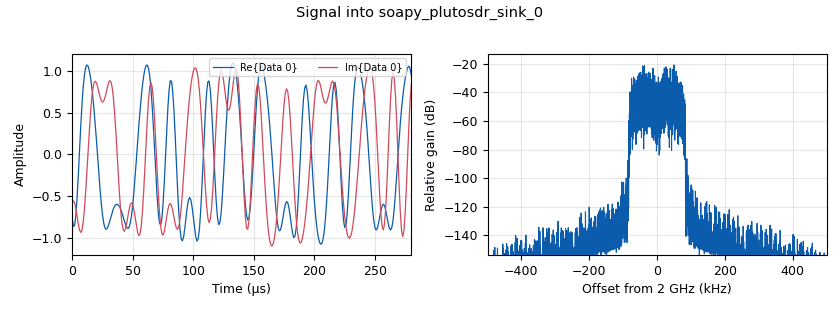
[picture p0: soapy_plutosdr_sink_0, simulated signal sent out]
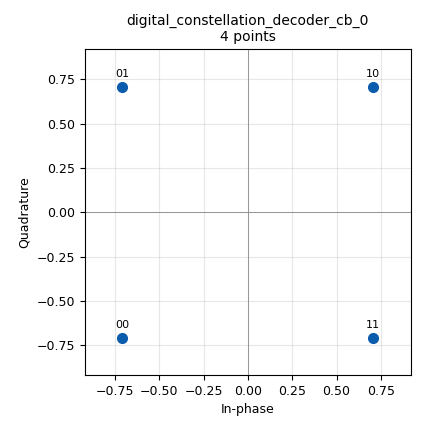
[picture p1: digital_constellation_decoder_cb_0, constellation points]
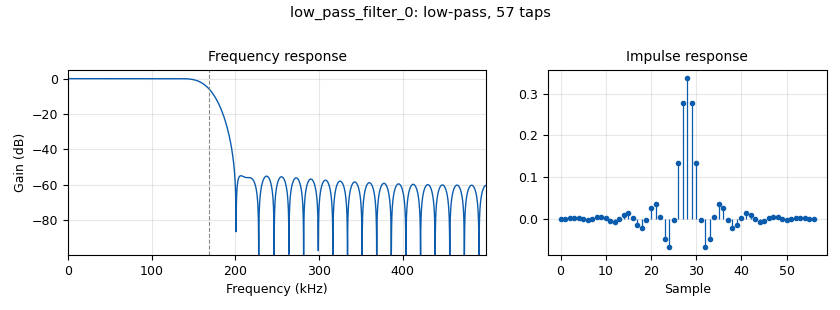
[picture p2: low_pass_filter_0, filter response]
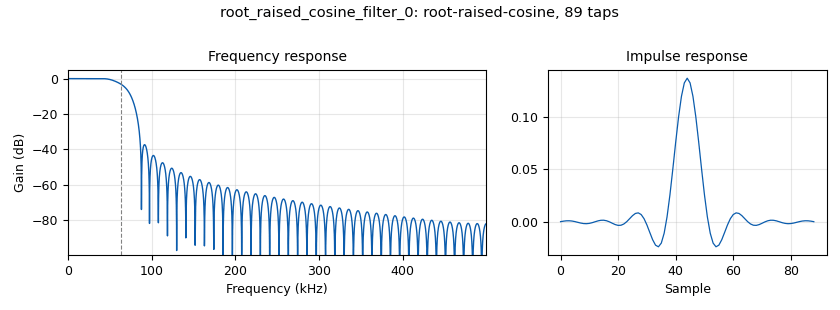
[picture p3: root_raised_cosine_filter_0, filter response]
options:
  parameters:
    author: tom
    generate_options: qt_gui
    id: backup
    output_language: python
    title: Not titled yet
  states: {}

blocks:
- name: QPSK_constellation
  id: variable_constellation
  parameters:
    const_points: '[-1-1j, -1+1j, 1+1j, 1-1j]'
    dims: '1'
    normalization: digital.constellation.AMPLITUDE_NORMALIZATION
    precision: '8'
    rot_sym: '4'
    sym_map: '[0, 1, 3, 2]'
    type: calcdist
  states: {}
- name: QPSK_constellation
  id: variable_constellation
  parameters:
    precision: '8'
    type: qpsk
  states: {state: disabled}
- name: alpha
  id: variable
  parameters:
    value: '0.35'
  states: {}
- name: center_freq
  id: variable
  parameters:
    value: 2e9
  states: {}
- name: fc
  id: variable
  parameters:
    value: '200000'
  states: {state: disabled}
- name: loop_bw_FLL
  id: variable_qtgui_range
  parameters:
    start: '0.0001'
    step: '0.0001'
    stop: '0.001'
    value: '0.0005'
  states: {}
- name: msg
  id: variable
  parameters:
    value: '"0001000101011100101001111010011110101011010110001111010101001111011101110110101"'
  states: {}
- name: noise_frequency_offset
  id: variable_qtgui_range
  parameters:
    start: '0'
    step: '0.01'
    stop: '0.25'
    value: 500/samp_rate
  states: {}
- name: noise_timing_offset
  id: variable_qtgui_range
  parameters:
    start: '1'
    step: '0.0001'
    stop: '1.1'
    value: '1'
  states: {}
- name: noise_voltage
  id: variable_qtgui_range
  parameters:
    start: '0'
    step: '0.1'
    stop: '5'
    value: '0'
  states: {}
- name: samp_rate
  id: variable
  parameters:
    comment: |-
      was 800k
      not the problem though. depends on the required symbol rate
    value: 1e6
  states: {}
- name: sps
  id: variable
  parameters:
    value: '8'
  states: {}
- name: analog_agc3_xx_0
  id: analog_agc3_xx
  parameters:
    attack_rate: '1e-3'
    comment: Up the attack and decay rates when we do real life testing
    decay_rate: '1e-4'
    gain: '1.0'
    iir_update_decim: '1'
    max_gain: '65536'
    reference: '1.0'
    type: complex
  states: {}
- name: analog_pll_carriertracking_cc_0
  id: analog_pll_carriertracking_cc
  parameters: {}
  states: {state: disabled}
- name: analog_pll_freqdet_cf_0
  id: analog_pll_freqdet_cf
  parameters: {}
  states: {state: disabled}
- name: analog_random_uniform_source_x_0
  id: analog_random_uniform_source_x
  parameters:
    comment: |-
      instead of this, have a set pilor signal?
      Also: Pluto -> bladeRF and bladeRF->Pluto
    maximum: '256'
    minimum: '0'
    seed: '0'
    type: byte
  states: {state: disabled}
- name: ber_async_ber_calculator_0
  id: ber_async_ber_calculator
  parameters:
    sequence: msg
  states: {}
- name: blocks_pack_k_bits_bb_0
  id: blocks_pack_k_bits_bb
  parameters:
    k: '8'
  states: {state: disabled}
- name: blocks_pack_k_bits_bb_1
  id: blocks_pack_k_bits_bb
  parameters:
    k: '8'
  states: {}
- name: blocks_skiphead_0
  id: blocks_skiphead
  parameters:
    comment: skips 1 second of data
    num_items: int(samp_rate)
    type: byte
  states: {}
- name: blocks_throttle2_0_0_0_0
  id: blocks_throttle2
  parameters:
    samples_per_second: samp_rate
    type: byte
  states: {state: bypassed}
- name: blocks_unpack_k_bits_bb_0
  id: blocks_unpack_k_bits_bb
  parameters:
    k: '2'
  states: {}
- name: blocks_vector_source_x_0
  id: blocks_vector_source_x
  parameters:
    repeat: 'True'
    type: byte
    vector: (0, 0, 0, 1, 1, 1, 0, 1, 0, 0, 0, 1, 1, 1, 0, 0, 0, 1, 1, 1, 1, 0)
  states: {state: disabled}
- name: blocks_vector_source_x_1
  id: blocks_vector_source_x
  parameters:
    repeat: 'True'
    type: byte
    vector: '[ int(i) for i in msg ]'
  states: {}
- name: channels_channel_model_0
  id: channels_channel_model
  parameters:
    epsilon: noise_timing_offset
    freq_offset: noise_frequency_offset
    noise_voltage: noise_voltage
    seed: '0'
    taps: '1.0'
  states: {state: bypassed}
- name: digital_constellation_decoder_cb_0
  id: digital_constellation_decoder_cb
  parameters:
    constellation: QPSK_constellation
  states: {}
- name: digital_constellation_modulator_0
  id: digital_constellation_modulator
  parameters:
    constellation: QPSK_constellation
    differential: 'True'
    excess_bw: alpha
    samples_per_symbol: sps
  states: {}
- name: digital_constellation_receiver_cb_0
  id: digital_constellation_receiver_cb
  parameters:
    constellation: QPSK_constellation
  states: {state: disabled}
- name: digital_costas_loop_cc_0
  id: digital_costas_loop_cc
  parameters:
    order: '4'
    w: 2*math.pi/100
  states: {}
- name: digital_diff_decoder_bb_0
  id: digital_diff_decoder_bb
  parameters:
    coding: digital.DIFF_DIFFERENTIAL
    modulus: '4'
  states: {}
- name: digital_fll_band_edge_cc_0
  id: digital_fll_band_edge_cc
  parameters:
    comment: |-
      loop_bw = 0.005 – 0.020
      Jason says ~0.003
    filter_size: '65'
    rolloff: alpha
    samps_per_sym: sps
    type: cc
    w: '0.0005'
  states: {}
- name: digital_fll_band_edge_cc_0_0
  id: digital_fll_band_edge_cc
  parameters:
    comment: |-
      loop_bw = 0.005 – 0.020
      Jason says ~0.003
    filter_size: '65'
    rolloff: alpha
    samps_per_sym: sps
    type: cc
    w: loop_bw_FLL
  states: {state: disabled}
- name: digital_map_bb_0
  id: digital_map_bb
  parameters:
    map: '[0, 1, 3, 2]'
  states: {}
- name: digital_symbol_sync_xx_0
  id: digital_symbol_sync_xx
  parameters:
    constellation: digital.constellation_qpsk().base()
    damping: '1.0'
    loop_bw: '0.045'
    max_dev: '1.5'
    nfilters: '32'
    osps: '1'
    resamp_type: digital.IR_MMSE_8TAP
    sps: sps
    ted_gain: '1'
    ted_type: digital.TED_SIGNAL_TIMES_SLOPE_ML
    type: cc
  states: {}
- name: epy_block_0
  id: epy_block
  parameters:
    _source_code: |
      import numpy as np
      from gnuradio import gr

      PILOT_LEN = 256

      def pack_bits_with_offset(bits, bit_offset, bitorder):
          trimmed = bits[bit_offset:]
          n_bytes = len(trimmed) // 8
          if n_bytes == 0:
              return np.array([], dtype=np.uint8)
          usable = trimmed[:n_bytes * 8]
          return np.packbits(usable, bitorder=bitorder)

      def is_increasing_mod256(packed, min_run=16):
          """
          Check if packed bytes look like the repeating 0..255 ramp.
          Returns fraction of consecutive pairs that are +1 mod 256.
          """
          if len(packed) < 2:
              return 0.0
          expected_next = ((packed[:-1].astype(np.uint16) + 1) % 256).astype(np.uint8)
          good = np.sum(packed[1:] == expected_next)
          return good / (len(packed) - 1)

      def find_best_alignment(bits, min_run=16):
          """
          Try all 8 bit offsets x 2 bit orders = 16 combinations.
          Returns (best_bit_offset, best_bitorder, best_byte_phase) or None.
          """
          best = None
          best_score = 0.0

          for bitorder in ['big', 'little']:
              for bit_offset in range(8):
                  packed = pack_bits_with_offset(bits, bit_offset, bitorder)
                  if len(packed) < min_run:
                      continue
                  score = is_increasing_mod256(packed)
                  if score > best_score:
                      # find byte phase: which value does the sequence start at?
                      best_score = score
                      # estimate byte phase from first byte
                      byte_phase = int(packed[0])
                      best = (bit_offset, bitorder, byte_phase, score)

          return best  # None if nothing found


      class blk(gr.sync_block):
          def __init__(self, buffer_size=20000, realign_interval=50000, periodic_realign=True, score_threshold=0.8, stats_reset_interval=1000):
              gr.sync_block.__init__(
                  self,
                  name='BER Calculator',
                  in_sig=[np.uint8],       # unpacked bit stream (0s and 1s)
                  out_sig=[np.float32, np.float32]  # [BER, byte error rate]
              )
              self.buffer_size = buffer_size
              self.realign_interval = realign_interval
              self.periodic_realign = periodic_realign
              self.score_threshold = score_threshold

              self.bit_buffer = np.array([], dtype=np.uint8)

              self.synced = False
              self.bit_offset = 0
              self.bitorder = 'big'
              self.byte_phase = 0         # which value in 0..255 we expect next

              self.total_bits = 0
              self.total_bit_errors = 0
              self.total_bytes = 0
              self.total_byte_errors = 0

              self.print_counter = 0
              self.realign_counter = 0
              self.last_ber = 0.0
              self.last_byter = 0.0

              self.stats_reset_interval = stats_reset_interval

          def try_align(self):
              result = find_best_alignment(self.bit_buffer)
              if result is None:
                  print("[BER] Could not find alignment.")
                  return False
              bit_offset, bitorder, byte_phase, score = result
              if score < self.score_threshold:
                  print(f"[BER] Best alignment score {score:.3f} below threshold {self.score_threshold}. Not locking.")
                  return False
              self.bit_offset = bit_offset
              self.bitorder = bitorder
              self.byte_phase = byte_phase
              # consume the bits used for alignment
              self.bit_buffer = self.bit_buffer[bit_offset:]
              print(f"[BER] Locked. bit_offset={bit_offset} bitorder={bitorder} byte_phase={byte_phase} score={score:.4f}")
              return True

          def work(self, input_items, output_items):
              bits_in = input_items[0]
              n = len(bits_in)

              self.bit_buffer = np.append(self.bit_buffer, bits_in)

              if not self.synced:
                  if len(self.bit_buffer) >= self.buffer_size:
                      self.synced = self.try_align()
                      if not self.synced:
                          # discard half the buffer and try again next time
                          self.bit_buffer = self.bit_buffer[self.buffer_size // 2:]

              else:
                  # pack available bits into bytes using locked alignment
                  n_bytes = len(self.bit_buffer) // 8
                  if n_bytes > 0:
                      usable = self.bit_buffer[:n_bytes * 8]
                      packed = np.packbits(usable, bitorder=self.bitorder)
                      self.bit_buffer = self.bit_buffer[n_bytes * 8:]

                      # build expected ramp
                      expected = ((self.byte_phase + np.arange(n_bytes)) % PILOT_LEN).astype(np.uint8)
                      self.byte_phase = int((self.byte_phase + n_bytes) % PILOT_LEN)

                      # byte errors
                      byte_errors = int(np.sum(packed != expected))
                      self.total_bytes += n_bytes
                      self.total_byte_errors += byte_errors

                      # bit errors
                      xor = np.bitwise_xor(packed, expected)
                      bit_errors = int(np.sum(np.unpackbits(xor)))
                      self.total_bits += n_bytes * 8
                      self.total_bit_errors += bit_errors

                      self.realign_counter += n_bytes
                      self.print_counter += n_bytes

                      if self.print_counter >= self.stats_reset_interval:
                          self.last_ber = self.total_bit_errors / self.total_bits if self.total_bits else 0.0
                          self.last_byter = self.total_byte_errors / self.total_bytes if self.total_bytes else 0.0
                          print(f"[BER] BER={self.last_ber:.6f}  ByteER={self.last_byter:.6f}  bits={self.total_bits}  bytes={self.total_bytes}")
                          self.print_counter = 0
                          self.total_bits = 0
                          self.total_bit_errors = 0
                          self.total_bytes = 0
                          self.total_byte_errors = 0

                      if self.periodic_realign and self.realign_counter >= self.realign_interval:
                          self.realign_counter = 0
                          self.synced = False
                          self.bit_buffer = np.array([], dtype=np.uint8)
                          print("[BER] Re-aligning...")

              output_items[0][:n] = self.last_ber
              output_items[1][:n] = self.last_byter
              return n
    buffer_size: '20000'
    periodic_realign: 'True'
    realign_interval: '50000'
    score_threshold: '0.8'
    stats_reset_interval: '1000'
  states: {state: disabled}
- name: epy_block_1
  id: epy_block
  parameters:
    _source_code: |
      import numpy as np
      from gnuradio import gr


      class blk(gr.sync_block):
          """
          Repeating byte source:
            0, 1, 2, ..., 255, 0, 1, ...
          """

          def __init__(self):
              gr.sync_block.__init__(
                  self,
                  name="Repeating 0-255 Byte Source",
                  in_sig=None,
                  out_sig=[np.uint8],
              )

              self.index = 0

          def work(self, input_items, output_items):
              out = output_items[0]
              n = len(out)

              out[:] = (self.index + np.arange(n)) % 256
              self.index = (self.index + n) % 256

              return n
  states: {state: disabled}
- name: epy_block_3
  id: epy_block
  parameters:
    _source_code: |
      import numpy as np
      from gnuradio import gr
      import csv
      import os
      import time
      from datetime import datetime

      CSV_FILE = "V3_noise_vs_ber.csv"
      LOG_INTERVAL = 0.8  # seconds between each periodic snapshot

      class blk(gr.sync_block):
          """
          Records BER vs noise parameters to a CSV file periodically.
          Every LOG_INTERVAL seconds, snapshots the current parameters and BER.

          Inputs:
              in0: float32 BER estimate (from BER Calculator block)

          Parameters:
              noise_voltage:       TX noise voltage
              noise_freq_offset:   frequency offset applied to noise
              noise_timing_offset: timing offset applied to noise
          """

          def __init__(self, noise_voltage=0.0, noise_freq_offset=0.0, noise_timing_offset=0.0):
              gr.sync_block.__init__(
                  self,
                  name="BER vs Noise Logger",
                  in_sig=[np.float32],
                  out_sig=None,
              )

              self.noise_voltage       = noise_voltage
              self.noise_freq_offset   = noise_freq_offset
              self.noise_timing_offset = noise_timing_offset

              self.last_log_time = time.time()

              self._init_csv()

          def _init_csv(self):
              file_exists = os.path.isfile(CSV_FILE)
              with open(CSV_FILE, "a", newline="") as f:
                  writer = csv.writer(f)
                  if not file_exists:
                      writer.writerow([
                          "timestamp",
                          "noise_voltage",
                          "noise_freq_offset",
                          "noise_timing_offset",
                          "ber",
                      ])

          def _record(self, ber):
              timestamp = datetime.now().strftime("%Y-%m-%d %H:%M:%S.%f")[:-3]
              with open(CSV_FILE, "a", newline="") as f:
                  writer = csv.writer(f)
                  writer.writerow([
                      timestamp,
                      self.noise_voltage,
                      self.noise_freq_offset,
                      self.noise_timing_offset,
                      f"{ber:.8f}",
                  ])
              print(f"[BER Logger] Recorded: voltage={self.noise_voltage} "
                    f"freq_offset={self.noise_freq_offset} "
                    f"timing_offset={self.noise_timing_offset} "
                    f"BER={ber:.8f}")

          def work(self, input_items, output_items):
              ber_in = input_items[0]
              n = len(ber_in)

              now = time.time()
              if now - self.last_log_time >= LOG_INTERVAL:
                  current_ber = float(np.mean(ber_in))
                  self._record(current_ber)
                  self.last_log_time = now

              return n
    noise_freq_offset: noise_frequency_offset
    noise_timing_offset: noise_timing_offset
    noise_voltage: noise_voltage
  states: {state: disabled}
- name: import_0
  id: import
  parameters:
    imports: import math
  states: {}
- name: import_0_0
  id: import
  parameters:
    imports: import numpy
  states: {}
- name: low_pass_filter_0
  id: low_pass_filter
  parameters:
    comment: |-
      sps = 1 samp_rate = bandwidth
      samp_rate / sps ~= bandwidth

      Bandwith has to do with "squareness" of wave and samp_rate/sps

      shaping is controlled by alpha

      min(BW) = sps

      BW = symbol_rate*(1+alpha)
    cutoff_freq: samp_rate/sps/2*(1+alpha)*2.0
    decim: '1'
    gain: '1'
    samp_rate: samp_rate
    type: fir_filter_ccf
    width: samp_rate/sps/2*(1+alpha)*0.5
    win: window.WIN_HAMMING
  states: {}
- name: qtgui_const_sink_x_0
  id: qtgui_const_sink_x
  parameters:
    label1: Post FLL
    label2: Post Costas
    nconnections: '2'
    size: '1024'
    type: complex
    update_time: '1.0'
    xmax: '3'
    xmin: '-3'
    ymax: '3'
    ymin: '-3'
  states: {}
- name: qtgui_const_sink_x_1
  id: qtgui_const_sink_x
  parameters:
    color1: '"red"'
    size: '1024'
    type: complex
  states: {state: disabled}
- name: qtgui_const_sink_x_2
  id: qtgui_const_sink_x
  parameters:
    label1: '"pre"'
    label2: '"post"'
    nconnections: '2'
    size: '1024'
    type: complex
  states: {state: disabled}
- name: qtgui_const_sink_x_3
  id: qtgui_const_sink_x
  parameters:
    size: '1024'
    type: complex
  states: {state: disabled}
- name: qtgui_freq_sink_x_0
  id: qtgui_freq_sink_x
  parameters:
    autoscale: 'True'
    bw: samp_rate*2
    fc: '0'
    fftsize: '1024'
    name: '"output"'
    type: complex
  states: {state: disabled}
- name: qtgui_freq_sink_x_1
  id: qtgui_freq_sink_x
  parameters:
    bw: samp_rate
    fc: '0'
    fftsize: '1024'
    type: complex
  states: {state: disabled}
- name: qtgui_number_sink_0
  id: qtgui_number_sink
  parameters:
    graph_type: qtgui.NUM_GRAPH_HORIZ
    max: '0.5'
    min: '0'
    name: '"bit ER"'
    type: float
  states: {state: disabled}
- name: qtgui_number_sink_0_0
  id: qtgui_number_sink
  parameters:
    graph_type: qtgui.NUM_GRAPH_HORIZ
    max: '0.5'
    min: '0'
    name: '"byte ER"'
    type: float
  states: {state: disabled}
- name: qtgui_number_sink_1
  id: qtgui_number_sink
  parameters:
    graph_type: qtgui.NUM_GRAPH_HORIZ
    type: float
  states: {state: disabled}
- name: qtgui_time_sink_x_0
  id: qtgui_time_sink_x
  parameters:
    autoscale: 'True'
    size: '1024'
    srate: samp_rate
    type: float
    ymax: '0.01'
    ymin: '-0.01'
  states: {state: disabled}
- name: qtgui_time_sink_x_1
  id: qtgui_time_sink_x
  parameters:
    nconnections: '2'
    size: '1024'
    srate: samp_rate
    type: float
  states: {}
- name: root_raised_cosine_filter_0
  id: root_raised_cosine_filter
  parameters:
    alpha: alpha
    comment: '?'
    decim: '1'
    gain: '1'
    ntaps: int(11*sps)
    samp_rate: samp_rate
    sym_rate: samp_rate / sps
    type: fir_filter_ccf
  states: {}
- name: soapy_bladerf_sink_0
  id: soapy_bladerf_sink
  parameters:
    center_freq: center_freq
    gain: '17'
    samp_rate: samp_rate
    type: fc32
  states: {state: disabled}
- name: soapy_bladerf_source_0
  id: soapy_bladerf_source
  parameters:
    center_freq: center_freq
    gain: '20'
    samp_rate: samp_rate
    type: fc32
  states: {}
- name: soapy_plutosdr_sink_0
  id: soapy_plutosdr_sink
  parameters:
    center_freq: center_freq
    gain: '40'
    samp_rate: samp_rate
    type: fc32
  states: {}
- name: soapy_plutosdr_source_0_0
  id: soapy_plutosdr_source
  parameters:
    agc: 'True'
    center_freq: center_freq
    gain: '60'
    samp_rate: samp_rate
    type: fc32
  states: {state: disabled}
- name: virtual_sink_0
  id: virtual_sink
  parameters:
    stream_id: rx_signal_filtered
  states: {}
- name: virtual_sink_1
  id: virtual_sink
  parameters:
    stream_id: decoded_signal
  states: {}
- name: virtual_sink_2
  id: virtual_sink
  parameters:
    stream_id: test
  states: {state: disabled}
- name: virtual_source_0
  id: virtual_source
  parameters:
    stream_id: rx_signal_filtered
  states: {}
- name: virtual_source_1
  id: virtual_source
  parameters:
    stream_id: decoded_signal
  states: {}
- name: virtual_source_3
  id: virtual_source
  parameters:
    stream_id: test
  states: {state: disabled}

connections:
- [analog_agc3_xx_0, '0', low_pass_filter_0, '0']
- [analog_random_uniform_source_x_0, '0', blocks_throttle2_0_0_0_0, '0']
- [ber_async_ber_calculator_0, '0', qtgui_time_sink_x_1, '0']
- [ber_async_ber_calculator_0, '1', qtgui_time_sink_x_1, '1']
- [blocks_pack_k_bits_bb_0, '0', blocks_throttle2_0_0_0_0, '0']
- [blocks_pack_k_bits_bb_1, '0', blocks_throttle2_0_0_0_0, '0']
- [blocks_skiphead_0, '0', ber_async_ber_calculator_0, '0']
- [blocks_skiphead_0, '0', epy_block_0, '0']
- [blocks_throttle2_0_0_0_0, '0', digital_constellation_modulator_0, '0']
- [blocks_unpack_k_bits_bb_0, '0', blocks_skiphead_0, '0']
- [blocks_vector_source_x_0, '0', blocks_pack_k_bits_bb_0, '0']
- [blocks_vector_source_x_1, '0', blocks_pack_k_bits_bb_1, '0']
- [channels_channel_model_0, '0', analog_agc3_xx_0, '0']
- [channels_channel_model_0, '0', digital_fll_band_edge_cc_0_0, '0']
- [channels_channel_model_0, '0', qtgui_const_sink_x_2, '0']
- [digital_constellation_decoder_cb_0, '0', virtual_sink_1, '0']
- [digital_constellation_modulator_0, '0', soapy_bladerf_sink_0, '0']
- [digital_constellation_modulator_0, '0', soapy_plutosdr_sink_0, '0']
- [digital_constellation_modulator_0, '0', virtual_sink_2, '0']
- [digital_costas_loop_cc_0, '0', digital_constellation_decoder_cb_0, '0']
- [digital_costas_loop_cc_0, '0', qtgui_const_sink_x_0, '1']
- [digital_costas_loop_cc_0, '0', qtgui_const_sink_x_1, '0']
- [digital_costas_loop_cc_0, '0', qtgui_freq_sink_x_0, '0']
- [digital_diff_decoder_bb_0, '0', digital_map_bb_0, '0']
- [digital_fll_band_edge_cc_0, '0', digital_symbol_sync_xx_0, '0']
- [digital_fll_band_edge_cc_0, '1', qtgui_number_sink_1, '0']
- [digital_fll_band_edge_cc_0, '1', qtgui_time_sink_x_0, '0']
- [digital_fll_band_edge_cc_0_0, '0', qtgui_const_sink_x_2, '1']
- [digital_map_bb_0, '0', blocks_unpack_k_bits_bb_0, '0']
- [digital_symbol_sync_xx_0, '0', digital_costas_loop_cc_0, '0']
- [digital_symbol_sync_xx_0, '0', qtgui_const_sink_x_0, '0']
- [epy_block_0, '0', epy_block_3, '0']
- [epy_block_0, '0', qtgui_number_sink_0, '0']
- [epy_block_0, '1', qtgui_number_sink_0_0, '0']
- [epy_block_1, '0', blocks_throttle2_0_0_0_0, '0']
- [low_pass_filter_0, '0', root_raised_cosine_filter_0, '0']
- [root_raised_cosine_filter_0, '0', virtual_sink_0, '0']
- [soapy_bladerf_source_0, '0', channels_channel_model_0, '0']
- [soapy_bladerf_source_0, '0', qtgui_const_sink_x_3, '0']
- [soapy_plutosdr_source_0_0, '0', channels_channel_model_0, '0']
- [virtual_source_0, '0', digital_fll_band_edge_cc_0, '0']
- [virtual_source_1, '0', digital_diff_decoder_bb_0, '0']
- [virtual_source_3, '0', channels_channel_model_0, '0']

metadata:
  file_format: 1
  grc_version: 3.10.12.0
